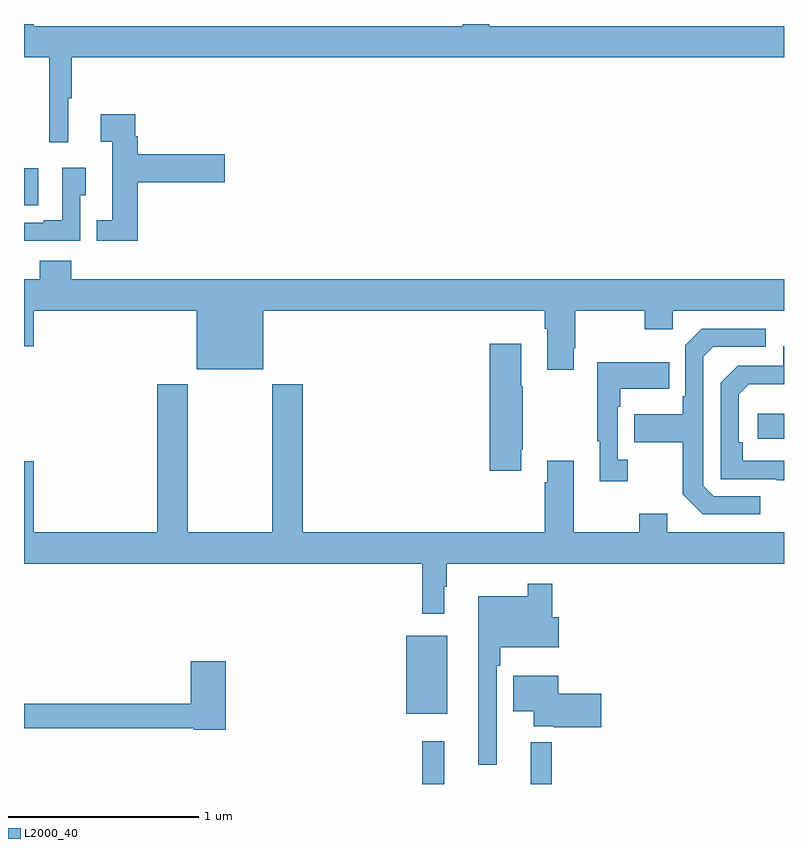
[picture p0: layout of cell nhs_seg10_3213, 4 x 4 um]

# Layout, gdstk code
import gdstk
lib = gdstk.Library(unit=1e-6, precision=1e-09)
def R(c, l, rs):  # rectangles x0, y0, x1, y1
    for r in rs: c.add(gdstk.rectangle(r[:2], r[2:], *l))
def P(c, l, *ps):  # polygons
    for p in ps: c.add(gdstk.Polygon(p, *l))
L2000_40 = (2000, 40)

nhs_seg10_3213 = lib.new_cell('nhs_seg10_3213')
R(nhs_seg10_3213, L2000_40, [(287.095,1288.5,287.213,1288.726), (287.666,1288.5,287.778,1288.72), (287.012,1288.871,287.227,1289.281), (288.861,1290.318,289,1290.448), (285,1291.547,285.076,1291.741)])
P(nhs_seg10_3213, L2000_40, [(285.232,1292.109),(285.251,1292.109),(285.251,1292.324),(289,1292.324),(289,1292.488),(287.448,1292.488),(287.448,1292.5),(287.309,1292.5),(287.309,1292.488),(285.052,1292.488),(285.052,1292.5),(285,1292.5),(285,1292.324),(285.134,1292.324),(285.134,1291.878),(285.232,1291.878)],
  [(285.599,1291.667),(286.057,1291.667),(286.057,1291.814),(285.599,1291.814),(285.599,1291.91),(285.586,1291.91),(285.586,1292.026),(285.405,1292.026),(285.405,1291.879),(285.464,1291.879),(285.464,1291.468),(285.382,1291.468),(285.382,1291.358),(285.599,1291.358)],
  [(285.297,1291.599),(285.325,1291.599),(285.325,1291.744),(285.201,1291.744),(285.201,1291.468),(285.104,1291.468),(285.104,1291.455),(285,1291.455),(285,1291.359),(285.297,1291.359)],
  [(287.893,1290.793),(287.901,1290.793),(287.901,1290.992),(288.268,1290.992),(288.268,1290.893),(288.414,1290.893),(288.414,1290.992),(289,1290.992),(289,1291.156),(285.248,1291.156),(285.248,1291.255),(285.083,1291.255),(285.083,1291.156),(285,1291.156),(285,1290.804),(285.052,1290.804),(285.052,1290.992),(285.908,1290.992),(285.908,1290.683),(286.258,1290.683),(286.258,1290.992),(287.741,1290.992),(287.741,1290.896),(287.753,1290.896),(287.753,1290.681),(287.893,1290.681)],
  [(288.874,1290.015),(288.63,1290.015),(288.576,1290.069),(288.576,1290.75),(288.627,1290.801),(288.904,1290.801),(288.904,1290.897),(288.567,1290.897),(288.48,1290.81),(288.48,1290.541),(288.468,1290.541),(288.468,1290.445),(288.211,1290.445),(288.211,1290.298),(288.468,1290.298),(288.468,1290.025),(288.573,1289.919),(288.874,1289.919)],
  [(287.617,1290.262),(287.625,1290.262),(287.625,1290.593),(287.617,1290.593),(287.617,1290.817),(287.45,1290.817),(287.45,1290.15),(287.617,1290.15)],
  [(289,1290.201),(288.782,1290.201),(288.782,1290.298),(288.762,1290.298),(288.762,1290.552),(288.815,1290.605),(289,1290.605),(289,1290.804),(288.996,1290.804),(288.996,1290.702),(288.756,1290.702),(288.666,1290.612),(288.666,1290.105),(288.961,1290.105),(288.961,1290.1),(289,1290.1)],
  [(288.178,1290.206),(288.126,1290.206),(288.126,1290.485),(288.139,1290.485),(288.139,1290.581),(288.395,1290.581),(288.395,1290.721),(288.018,1290.721),(288.018,1290.305),(288.029,1290.305),(288.029,1290.093),(288.178,1290.093)],
  [(287.212,1289.537),(287.224,1289.537),(287.224,1289.66),(289,1289.66),(289,1289.824),(288.385,1289.824),(288.385,1289.923),(288.238,1289.923),(288.238,1289.824),(287.893,1289.824),(287.893,1290.202),(287.753,1290.202),(287.753,1290.089),(287.741,1290.089),(287.741,1289.824),(286.466,1289.824),(286.466,1290.604),(286.306,1290.604),(286.306,1289.824),(285.861,1289.824),(285.861,1290.604),(285.701,1290.604),(285.701,1289.824),(285.052,1289.824),(285.052,1290.199),(285,1290.199),(285,1289.66),(287.095,1289.66),(287.095,1289.397),(287.212,1289.397)],
  [(287.487,1289.123),(287.507,1289.123),(287.507,1289.219),(287.815,1289.219),(287.815,1289.377),(287.78,1289.377),(287.78,1289.554),(287.652,1289.554),(287.652,1289.488),(287.39,1289.488),(287.39,1288.602),(287.487,1288.602)],
  [(286.061,1289.146),(285.878,1289.146),(285.878,1288.922),(285,1288.922),(285,1288.794),(285.894,1288.794),(285.894,1288.786),(286.061,1288.786)],
  [(288.037,1288.976),(287.812,1288.976),(287.812,1289.071),(287.576,1289.071),(287.576,1288.883),(287.684,1288.883),(287.684,1288.805),(287.788,1288.805),(287.788,1288.8),(288.037,1288.8)])

lib.write_gds('nhs_seg10_3213.gds')
